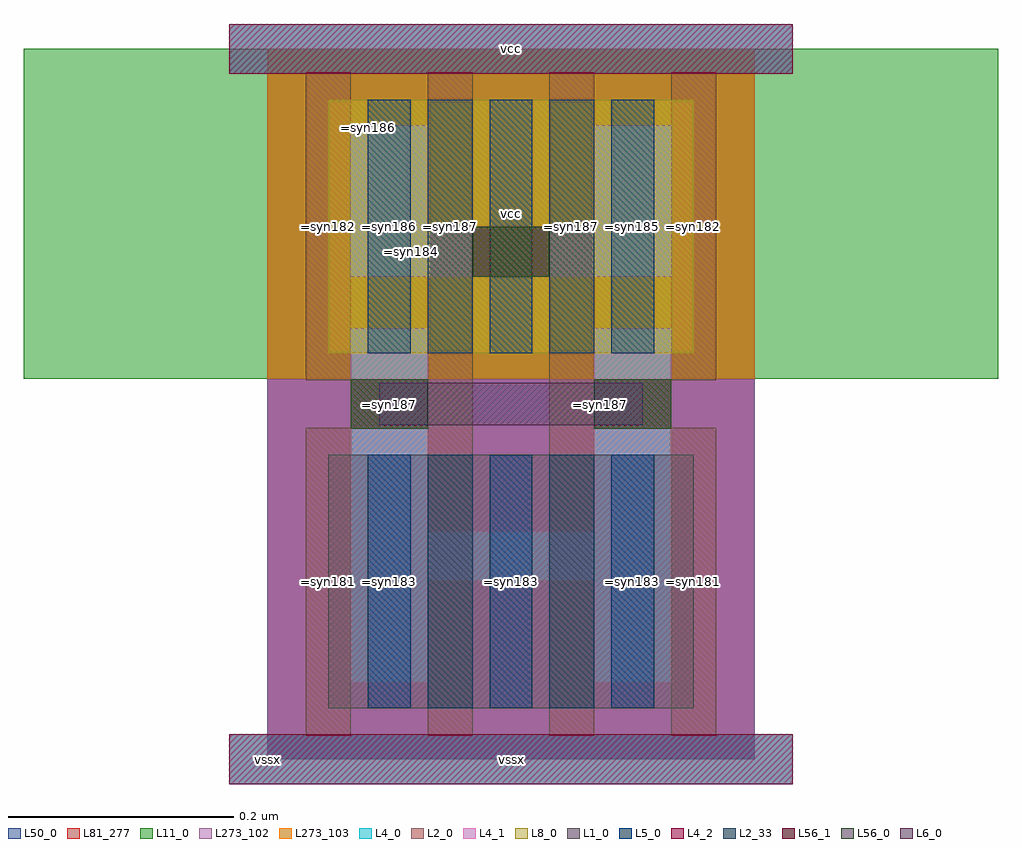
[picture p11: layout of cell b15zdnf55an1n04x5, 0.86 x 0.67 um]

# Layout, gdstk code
import gdstk
lib = gdstk.Library(unit=1e-6, precision=5e-10)
def R(c, l, rs):  # rectangles x0, y0, x1, y1
    for r in rs: c.add(gdstk.rectangle(r[:2], r[2:], *l))
def A(c, l, x, y, w, h, nx, ny, dx, dy):  # array of equal rectangles
    R(c, l, [(x+i*dx, y+j*dy, x+i*dx+w, y+j*dy+h) for i in range(nx) for j in range(ny)])
def P(c, l, *ps):  # polygons
    for p in ps: c.add(gdstk.Polygon(p, *l))
L1_0 = (1, 0)
L2_0 = (2, 0)
L2_33 = (2, 33)
L4_0 = (4, 0)
L4_1 = (4, 1)
L4_2 = (4, 2)
L5_0 = (5, 0)
L6_0 = (6, 0)
L8_0 = (8, 0)
L11_0 = (11, 0)
L50_0 = (50, 0)
L56_0 = (56, 0)
L56_1 = (56, 1)
L81_277 = (81, 277)
L273_102 = (273, 102)
L273_103 = (273, 103)

b15zdnf55an1n04x5 = lib.new_cell('b15zdnf55an1n04x5')
R(b15zdnf55an1n04x5, L1_0, [(0.054,0.045,0.378,0.27)])
R(b15zdnf55an1n04x5, L2_0, [(0.034,0.021,0.074,0.294), (0.142,0.021,0.182,0.609), (0.25,0.021,0.29,0.609), (0.358,0.021,0.398,0.294), (0.034,0.336,0.074,0.609), (0.358,0.336,0.398,0.609)])
R(b15zdnf55an1n04x5, L2_33, [(0.142,0.045,0.182,0.27), (0.25,0.045,0.29,0.27), (0.142,0.36,0.182,0.585), (0.25,0.36,0.29,0.585)])
R(b15zdnf55an1n04x5, L4_0, [(-0.034,-0.022,0.466,0.022), (-0.034,0.608,0.466,0.652)])
P(b15zdnf55an1n04x5, L4_0, [(0.358,0.428),(0.074,0.428),(0.074,0.562),(0.142,0.562),(0.142,0.472),(0.29,0.472),(0.29,0.562),(0.358,0.562)],
  [(0.358,0.068),(0.29,0.068),(0.29,0.158),(0.142,0.158),(0.142,0.068),(0.074,0.068),(0.074,0.382),(0.142,0.382),(0.142,0.202),(0.29,0.202),(0.29,0.382),(0.358,0.382)])
P(b15zdnf55an1n04x5, L4_1, [(0.358,0.428),(0.074,0.428),(0.074,0.562),(0.142,0.562),(0.142,0.472),(0.29,0.472),(0.29,0.562),(0.358,0.562)],
  [(0.358,0.068),(0.29,0.068),(0.29,0.158),(0.142,0.158),(0.142,0.068),(0.074,0.068),(0.074,0.382),(0.142,0.382),(0.142,0.202),(0.29,0.202),(0.29,0.382),(0.358,0.382)])
R(b15zdnf55an1n04x5, L4_2, [(-0.034,-0.022,0.466,0.022), (-0.034,0.608,0.466,0.652)])
A(b15zdnf55an1n04x5, L5_0, 0.089, 0.045, 0.038, 0.225, 3, 2, 0.108, 0.315)
R(b15zdnf55an1n04x5, L6_0, [(0.099,0.296,0.333,0.334)])
R(b15zdnf55an1n04x5, L8_0, [(0.054,0.36,0.378,0.585)])
R(b15zdnf55an1n04x5, L11_0, [(-0.216,0.3375,0.648,0.63)])
R(b15zdnf55an1n04x5, L50_0, [(0,0,0.432,0.63)])
R(b15zdnf55an1n04x5, L56_0, [(0.074,0.293,0.142,0.337), (0.29,0.293,0.358,0.337), (0.182,0.428,0.25,0.472)])
R(b15zdnf55an1n04x5, L56_1, [(0.074,0.293,0.142,0.337), (0.29,0.293,0.358,0.337), (0.182,0.428,0.25,0.472)])
R(b15zdnf55an1n04x5, L81_277, [(0,0,0.432,0.63)])
R(b15zdnf55an1n04x5, L273_102, [(0,0,0.432,0.3375)])
R(b15zdnf55an1n04x5, L273_103, [(0,0.3375,0.432,0.63)])
b15zdnf55an1n04x5.add(gdstk.Label('vssx', (0,0), layer=81, texttype=6))
b15zdnf55an1n04x5.add(gdstk.Label('vcc', (0.216,0.484), layer=11, texttype=0))
b15zdnf55an1n04x5.add(gdstk.Label('=syn186', (0.108,0.4725), layer=8, texttype=0))
b15zdnf55an1n04x5.add(gdstk.Label('=syn184', (0.128,0.45), layer=4, texttype=0))
b15zdnf55an1n04x5.add(gdstk.Label('=syn187', (0.108,0.315), layer=4, texttype=0))
b15zdnf55an1n04x5.add(gdstk.Label('vcc', (0.216,0.63), layer=4, texttype=0))
b15zdnf55an1n04x5.add(gdstk.Label('vssx', (0.216,0), layer=4, texttype=0))
b15zdnf55an1n04x5.add(gdstk.Label('vcc', (0.216,0.63), layer=4, texttype=2))
b15zdnf55an1n04x5.add(gdstk.Label('vssx', (0.216,0), layer=4, texttype=2))
b15zdnf55an1n04x5.add(gdstk.Label('=syn182', (0.054,0.4725), layer=2, texttype=0))
b15zdnf55an1n04x5.add(gdstk.Label('=syn181', (0.054,0.1575), layer=2, texttype=0))
b15zdnf55an1n04x5.add(gdstk.Label('=syn187', (0.162,0.4725), layer=2, texttype=0))
b15zdnf55an1n04x5.add(gdstk.Label('=syn187', (0.27,0.4725), layer=2, texttype=0))
b15zdnf55an1n04x5.add(gdstk.Label('=syn182', (0.378,0.4725), layer=2, texttype=0))
b15zdnf55an1n04x5.add(gdstk.Label('=syn181', (0.378,0.1575), layer=2, texttype=0))
b15zdnf55an1n04x5.add(gdstk.Label('=syn183', (0.108,0.1575), layer=1, texttype=0))
b15zdnf55an1n04x5.add(gdstk.Label('=syn187', (0.295,0.315), layer=6, texttype=0))
b15zdnf55an1n04x5.add(gdstk.Label('=syn186', (0.09,0.56), layer=5, texttype=0))
b15zdnf55an1n04x5.add(gdstk.Label('=syn183', (0.108,0.1575), layer=5, texttype=0))
b15zdnf55an1n04x5.add(gdstk.Label('=syn184', (0.216,0.4725), layer=5, texttype=0))
b15zdnf55an1n04x5.add(gdstk.Label('=syn183', (0.216,0.1575), layer=5, texttype=0))
b15zdnf55an1n04x5.add(gdstk.Label('=syn185', (0.324,0.4725), layer=5, texttype=0))
b15zdnf55an1n04x5.add(gdstk.Label('=syn183', (0.324,0.1575), layer=5, texttype=0))

lib.write_gds('b15zdnf55an1n04x5.gds')
